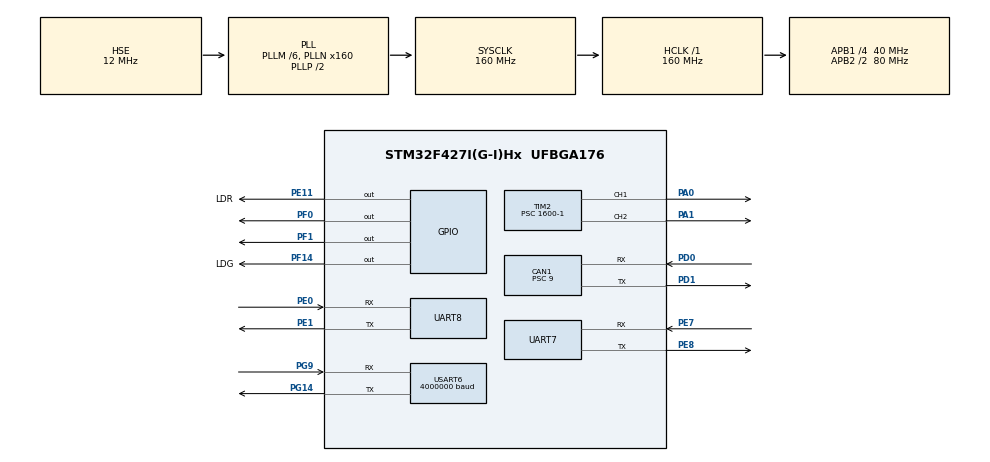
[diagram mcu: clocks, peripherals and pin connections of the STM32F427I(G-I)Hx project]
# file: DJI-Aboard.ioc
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CAN1.ABOM=DISABLE
CAN1.AWUM=DISABLE
CAN1.BS1=CAN_BS1_3TQ
CAN1.BS2=CAN_BS2_1TQ
CAN1.CalculateBaudRate=888888
CAN1.CalculateTimeBit=1125
CAN1.CalculateTimeQuantum=225.0
CAN1.Mode=CAN_MODE_NORMAL
CAN1.NART=DISABLE
CAN1.Prescaler=9
CAN1.RFLM=DISABLE
CAN1.SJW=CAN_SJW_1TQ
CAN1.TTCM=DISABLE
CAN1.TXFP=DISABLE
Dma.Request0=USART6_RX
Dma.Request1=UART8_RX
Dma.Request2=UART8_TX
Dma.UART8_RX.1.Direction=DMA_PERIPH_TO_MEMORY
Dma.UART8_RX.1.FIFOMode=DMA_FIFOMODE_DISABLE
Dma.UART8_RX.1.Instance=DMA1_Stream6
Dma.UART8_RX.1.MemDataAlignment=DMA_MDATAALIGN_BYTE
Dma.UART8_RX.1.MemInc=DMA_MINC_ENABLE
Dma.UART8_RX.1.Mode=DMA_CIRCULAR
Dma.UART8_RX.1.PeriphDataAlignment=DMA_PDATAALIGN_BYTE
Dma.UART8_RX.1.PeriphInc=DMA_PINC_DISABLE
Dma.UART8_RX.1.Priority=DMA_PRIORITY_VERY_HIGH
Dma.UART8_TX.2.Direction=DMA_MEMORY_TO_PERIPH
Dma.UART8_TX.2.FIFOMode=DMA_FIFOMODE_DISABLE
Dma.UART8_TX.2.Instance=DMA1_Stream0
Dma.UART8_TX.2.MemDataAlignment=DMA_MDATAALIGN_BYTE
Dma.UART8_TX.2.MemInc=DMA_MINC_ENABLE
Dma.UART8_TX.2.Mode=DMA_NORMAL
Dma.UART8_TX.2.PeriphDataAlignment=DMA_PDATAALIGN_BYTE
Dma.UART8_TX.2.PeriphInc=DMA_PINC_DISABLE
Dma.UART8_TX.2.Priority=DMA_PRIORITY_VERY_HIGH
Dma.USART6_RX.0.Direction=DMA_PERIPH_TO_MEMORY
Dma.USART6_RX.0.FIFOMode=DMA_FIFOMODE_DISABLE
Dma.USART6_RX.0.Instance=DMA2_Stream1
Dma.USART6_RX.0.MemDataAlignment=DMA_MDATAALIGN_BYTE
Dma.USART6_RX.0.MemInc=DMA_MINC_ENABLE
Dma.USART6_RX.0.Mode=DMA_NORMAL
Dma.USART6_RX.0.PeriphDataAlignment=DMA_PDATAALIGN_BYTE
Dma.USART6_RX.0.PeriphInc=DMA_PINC_DISABLE
Dma.USART6_RX.0.Priority=DMA_PRIORITY_HIGH
FREERTOS.Tasks01=defaultTask,24,3000,StartDefaultTask,Default,NULL,Dynamic,NULL,NULL
FREERTOS.configENABLE_FPU=1
Mcu.Family=STM32F4
Mcu.Name=STM32F427I(G-I)Hx
Mcu.Package=UFBGA176
NVIC.CAN1_RX0_IRQn=true\:5\:0\:false\:false\:true\:true\:true\:true\:true
NVIC.DMA1_Stream0_IRQn=true\:5\:0\:false\:false\:true\:true\:false\:true\:true
NVIC.DMA1_Stream6_IRQn=true\:5\:0\:false\:false\:true\:true\:false\:true\:true
NVIC.DMA2_Stream1_IRQn=true\:5\:0\:false\:false\:true\:true\:false\:true\:true
NVIC.PriorityGroup=NVIC_PRIORITYGROUP_4
NVIC.TIM1_UP_TIM10_IRQn=true\:15\:0\:false\:false\:true\:false\:false\:true\:true
NVIC.TimeBase=TIM1_UP_TIM10_IRQn
NVIC.TimeBaseIP=TIM1
NVIC.UART8_IRQn=true\:5\:0\:false\:false\:true\:true\:true\:true\:true
NVIC.USART6_IRQn=true\:5\:0\:false\:false\:true\:true\:true\:true\:true
PA0/WKUP.Signal=S_TIM2_CH1_ETR
PA1.Signal=S_TIM2_CH2
PA13.Mode=Serial_Wire
PA13.Signal=SYS_JTMS-SWDIO
PA14.Mode=Serial_Wire
PA14.Signal=SYS_JTCK-SWCLK
PC14/OSC32_IN.Mode=LSE-External-Clock-Source
PC14/OSC32_IN.Signal=RCC_OSC32_IN
PC15/OSC32_OUT.Mode=LSE-External-Clock-Source
PC15/OSC32_OUT.Signal=RCC_OSC32_OUT
PD0.Mode=CAN_Activate
PD0.Signal=CAN1_RX
PD1.Mode=CAN_Activate
PD1.Signal=CAN1_TX
PE0.Mode=Asynchronous
PE0.Signal=UART8_RX
PE1.Mode=Asynchronous
PE1.Signal=UART8_TX
PE11.GPIO_Label=LDR
PE11.PinState=GPIO_PIN_SET
PE11.Signal=GPIO_Output
PE7.Mode=Asynchronous
PE7.Signal=UART7_RX
PE8.Mode=Asynchronous
PE8.Signal=UART7_TX
PF0.Signal=GPIO_Output
PF1.Signal=GPIO_Output
PF14.GPIO_Label=LDG
PF14.PinState=GPIO_PIN_SET
PF14.Signal=GPIO_Output
PG14.Mode=Asynchronous
PG14.Signal=USART6_TX
PG9.Mode=Asynchronous
PG9.Signal=USART6_RX
PH0/OSC_IN.Mode=HSE-External-Oscillator
PH0/OSC_IN.Signal=RCC_OSC_IN
PH1/OSC_OUT.Mode=HSE-External-Oscillator
PH1/OSC_OUT.Signal=RCC_OSC_OUT
ProjectManager.HeapSize=0x200
ProjectManager.StackSize=0x400
ProjectManager.TargetToolchain=STM32CubeIDE
RCC.48MHZClocksFreq_Value=80000000
RCC.AHBFreq_Value=160000000
RCC.APB1CLKDivider=RCC_HCLK_DIV4
RCC.APB1Freq_Value=40000000
RCC.APB1TimFreq_Value=80000000
RCC.APB2CLKDivider=RCC_HCLK_DIV2
RCC.APB2Freq_Value=80000000
RCC.APB2TimFreq_Value=160000000
RCC.CortexFreq_Value=160000000
RCC.FLatency=FLASH_LATENCY_5
RCC.HCLKFreq_Value=160000000
RCC.HSE_VALUE=12000000
RCC.HSI_VALUE=16000000
RCC.LSE_VALUE=32768
RCC.PLLM=6
RCC.PLLN=160
RCC.PLLSourceVirtual=RCC_PLLSOURCE_HSE
RCC.PWREXT_OverDrive=PWREXT_OverDrive_ACTIVATED
RCC.PWR_Regulator_Voltage_Scale=PWR_REGULATOR_VOLTAGE_SCALE1
RCC.SYSCLKFreq_VALUE=160000000
RCC.SYSCLKSource=RCC_SYSCLKSOURCE_PLLCLK
RCC.VCOOutputFreq_Value=320000000
SH.S_TIM2_CH1_ETR.0=TIM2_CH1,PWM Generation1 CH1
SH.S_TIM2_CH2.0=TIM2_CH2,PWM Generation2 CH2
TIM2.AutoReloadPreload=TIM_AUTORELOAD_PRELOAD_ENABLE
TIM2.Channel-PWM\ Generation1\ CH1=TIM_CHANNEL_1
TIM2.Channel-PWM\ Generation2\ CH2=TIM_CHANNEL_2
TIM2.Period=1000-1
TIM2.Prescaler=1600-1
UART7.VirtualMode=Asynchronous
UART8.VirtualMode=Asynchronous
USART6.BaudRate=4000000
USART6.VirtualMode=VM_ASYNC
VP_FREERTOS_VS_CMSIS_V2.Mode=CMSIS_V2
VP_SYS_VS_tim1.Mode=TIM1
VP_TIM2_VS_ClockSourceINT.Mode=Internal
board=custom

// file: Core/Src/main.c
/* USER CODE BEGIN Header */
/**
  ******************************************************************************
  * @file           : main.c
  * @brief          : Main program body
  ******************************************************************************
  * @attention
  *
  * Copyright (c) 2023 STMicroelectronics.
  * All rights reserved.
  *
  * This software is licensed under terms that can be found in the LICENSE file
  * in the root directory of this software component.
  * If no LICENSE file comes with this software, it is provided AS-IS.
  *
  ******************************************************************************
  */
/* USER CODE END Header */
#include "main.h"
#include "cmsis_os.h"
#include "can.h"
#include "dma.h"
#include "tim.h"
#include "usart.h"
#include "gpio.h"

/* USER CODE BEGIN Includes */

#include "retarget.h"
/* USER CODE END Includes */

void SystemClock_Config(void);
void MX_FREERTOS_Init(void);

int main(void)
{

  /* MCU Configuration--------------------------------------------------------*/

  /* Reset of all peripherals, Initializes the Flash interface and the Systick. */
  HAL_Init();

  /* Configure the system clock */
  SystemClock_Config();

  /* Initialize all configured peripherals */
  MX_GPIO_Init();
  MX_DMA_Init();
  MX_CAN1_Init();
  MX_USART6_UART_Init();
  MX_TIM2_Init();
  MX_UART7_Init();
  MX_UART8_Init();
  /* USER CODE BEGIN 2 */
    RetargetInit(&huart6);
    HAL_Delay(200);

  /* USER CODE END 2 */

  /* Init scheduler */
  osKernelInitialize();  /* Call init function for freertos objects (in freertos.c) */
  MX_FREERTOS_Init();

  /* Start scheduler */
  osKernelStart();

  /* We should never get here as control is now taken by the scheduler */
  /* Infinite loop */
  while (1)
  {

  }
}

void SystemClock_Config(void)
{
  RCC_OscInitTypeDef RCC_OscInitStruct = {0};
  RCC_ClkInitTypeDef RCC_ClkInitStruct = {0};

  /** Configure the main internal regulator output voltage
  */
  __HAL_RCC_PWR_CLK_ENABLE();
  __HAL_PWR_VOLTAGESCALING_CONFIG(PWR_REGULATOR_VOLTAGE_SCALE1);

  /** Initializes the RCC Oscillators according to the specified parameters
  * in the RCC_OscInitTypeDef structure.
  */
  RCC_OscInitStruct.OscillatorType = RCC_OSCILLATORTYPE_HSE;
  RCC_OscInitStruct.HSEState = RCC_HSE_ON;
  RCC_OscInitStruct.PLL.PLLState = RCC_PLL_ON;
  RCC_OscInitStruct.PLL.PLLSource = RCC_PLLSOURCE_HSE;
  RCC_OscInitStruct.PLL.PLLM = 6;
  RCC_OscInitStruct.PLL.PLLN = 160;
  RCC_OscInitStruct.PLL.PLLP = RCC_PLLP_DIV2;
  RCC_OscInitStruct.PLL.PLLQ = 4;
  if (HAL_RCC_OscConfig(&RCC_OscInitStruct) != HAL_OK)
  {
    Error_Handler();
  }

  /** Activate the Over-Drive mode
  */
  if (HAL_PWREx_EnableOverDrive() != HAL_OK)
  {
    Error_Handler();
  }

  /** Initializes the CPU, AHB and APB buses clocks
  */
  RCC_ClkInitStruct.ClockType = RCC_CLOCKTYPE_HCLK|RCC_CLOCKTYPE_SYSCLK
                              |RCC_CLOCKTYPE_PCLK1|RCC_CLOCKTYPE_PCLK2;
  RCC_ClkInitStruct.SYSCLKSource = RCC_SYSCLKSOURCE_PLLCLK;
  RCC_ClkInitStruct.AHBCLKDivider = RCC_SYSCLK_DIV1;
  RCC_ClkInitStruct.APB1CLKDivider = RCC_HCLK_DIV4;
  RCC_ClkInitStruct.APB2CLKDivider = RCC_HCLK_DIV2;

  if (HAL_RCC_ClockConfig(&RCC_ClkInitStruct, FLASH_LATENCY_5) != HAL_OK)
  {
    Error_Handler();
  }
}

void HAL_TIM_PeriodElapsedCallback(TIM_HandleTypeDef *htim)
{
  if (htim->Instance == TIM1) {
    HAL_IncTick();
  }
}

void Error_Handler(void)
{
  __disable_irq();
  while (1)
  {
  }
}

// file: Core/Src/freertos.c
/* USER CODE BEGIN Header */
/**
  ******************************************************************************
  * File Name          : freertos.c
  * Description        : Code for freertos applications
  ******************************************************************************
  * @attention
  *
  * Copyright (c) 2023 STMicroelectronics.
  * All rights reserved.
  *
  * This software is licensed under terms that can be found in the LICENSE file
  * in the root directory of this software component.
  * If no LICENSE file comes with this software, it is provided AS-IS.
  *
  ******************************************************************************
  */
/* USER CODE END Header */

#include "FreeRTOS.h"
#include "task.h"
#include "main.h"
#include "cmsis_os.h"

/* USER CODE BEGIN Includes */
#include "usart.h"
#include "USER_main.h"
#include "tim.h"
/* USER CODE END Includes */

/* USER CODE BEGIN Variables */
SemaphoreHandle_t data_mutex;
SemaphoreHandle_t sync_mutex;
/* USER CODE END Variables */
/* Definitions for defaultTask */
osThreadId_t defaultTaskHandle;
const osThreadAttr_t defaultTask_attributes = {
  .name = "defaultTask",
  .stack_size = 3000 * 4,
  .priority = (osPriority_t) osPriorityNormal,
};

/* USER CODE BEGIN FunctionPrototypes */
osThreadId_t controllerTaskHandle;
const osThreadAttr_t controllerTask_attributes = {
        .name = "controllerTask",
        .stack_size = 256 * 4,
        .priority = (osPriority_t) osPriorityLow
};
/* USER CODE END FunctionPrototypes */

void StartDefaultTask(void *argument);

void MX_FREERTOS_Init(void); /* (MISRA C 2004 rule 8.1) */

void MX_FREERTOS_Init(void) {

  /* USER CODE BEGIN RTOS_SEMAPHORES */
  /* add semaphores, ... */

        data_mutex = xSemaphoreCreateMutex();
        sync_mutex = xSemaphoreCreateBinary();
  /* USER CODE END RTOS_SEMAPHORES */

  /* Create the thread(s) */
  /* creation of defaultTask */
  defaultTaskHandle = osThreadNew(StartDefaultTask, NULL, &defaultTask_attributes);

  /* USER CODE BEGIN RTOS_THREADS */
  /* add threads, ... */
  controllerTaskHandle = osThreadNew(StartControllerTask, NULL, &controllerTask_attributes);

  /* USER CODE END RTOS_THREADS */

}

void StartDefaultTask(void *argument)
{
  /* USER CODE BEGIN StartDefaultTask */

    //TestTask(argument);
  UserStartDefaultTask(argument);
  /* Infinite loop */
    for(;;)
    {
        osDelay(1);
    }
  /* USER CODE END StartDefaultTask */
}
